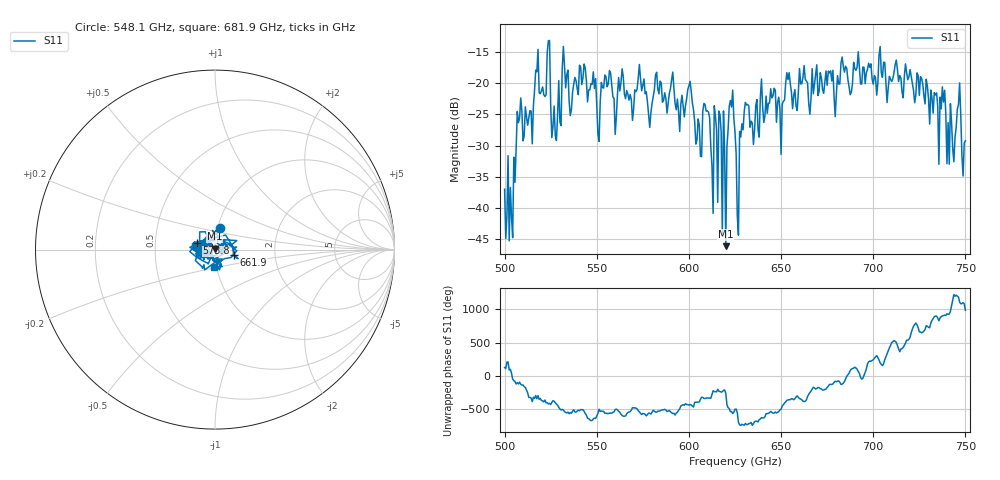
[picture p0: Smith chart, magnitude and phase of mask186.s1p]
!Created with skrf (http://scikit-rf.org).
# GHz S MA R 50.0
!freq magS11 angS11
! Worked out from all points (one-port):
!   401 points, 500 GHz to 750 GHz, reference 50 ohm
!   lowest |S11| = -46.1 dB at 620 GHz (marker M1), VSWR 1.01, Z = 49.9 + j0.481 ohm
!   |S11| at or under -10 dB: start of sweep to end of sweep
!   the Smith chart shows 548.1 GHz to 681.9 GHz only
!   S11 on the Smith chart (normalised r, x): 548.1 GHz: 1.02, +0.25; 573.8 GHz: 0.81, +0.06; 661.9 GHz: 1.24, -0.07; 681.9 GHz: 0.97, -0.19
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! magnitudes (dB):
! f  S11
! 500 GHz  -37.0
! 503.8 GHz  -41.4
! 508.1 GHz  -25.6
! 513.8 GHz  -24.4
! 517.5 GHz  -18.2
! 523.8 GHz  -13.2
! 526.9 GHz  -23.7
! 531.2 GHz  -17.8
! 548.1 GHz  -18.2
! 562.5 GHz  -21.3
! 573.8 GHz  -19.3
! 593.8 GHz  -22.5
! 600.6 GHz  -19.7
! 605.6 GHz  -26.7
! 609.4 GHz  -24.5
! 611.9 GHz  -30.2
! 620 GHz  -46.1
! 623.1 GHz  -23.8
! 625 GHz  -27.8
! 626.9 GHz  -44.3
! 631.2 GHz  -23.5
! 656.2 GHz  -24.1
! 661.9 GHz  -19.1
! 681.9 GHz  -20.1
! 687.5 GHz  -21.8
! 718.8 GHz  -19.5
! 746.2 GHz  -23.4
! 750 GHz  -29.2
